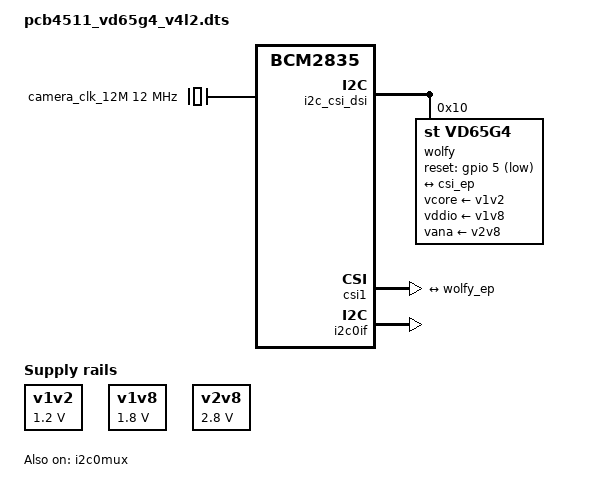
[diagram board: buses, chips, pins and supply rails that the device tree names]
// SPDX-License-Identifier: GPL-2.0-only
/dts-v1/;
/plugin/;

/{
	compatible = "brcm,bcm2835";

	fragment@0 {
		target-path="/";
		__overlay__ {
			camera_clk_12M: camera_clk_12M {
				#clock-cells = <0>;
				compatible = "fixed-clock";
				clock-frequency = <12000000>;
			};

			v1v2: v1v2 {
				compatible = "regulator-fixed";
				regulator-name = "fixed-supply-1v2";
				regulator-min-microvolt = <1200000>;
				regulator-max-microvolt = <1200000>;
			};

			v1v8: v1v8 {
				compatible = "regulator-fixed";
				regulator-name = "fixed-supply-1v8";
				regulator-min-microvolt = <1800000>;
				regulator-max-microvolt = <1800000>;
			};

			v2v8: v2v8 {
				compatible = "regulator-fixed";
				regulator-name = "fixed-supply-2v8";
				regulator-min-microvolt = <2800000>;
				regulator-max-microvolt = <2800000>;
			};
		};
	};

	fragment@1 {
		target = <&i2c_csi_dsi>;
		__overlay__ {
			#address-cells = <1>;
			#size-cells = <0>;
			status = "okay";

			wolfy: wolfy@10 {
				status = "ok";
				compatible = "st,vd65g4";
				reg = <0x10>;

				clocks = <&camera_clk_12M>;
				clock-names = "xclk";

				vcore-supply = <&v1v2>;
				vddio-supply = <&v1v8>;
				vana-supply = <&v2v8>;

				reset-gpios = <&gpio 5 1>;
				st,leds = <2>;

				orientation = <2>;
				rotation = <0>;

				port {
					wolfy_ep: endpoint {
						clock-lanes = <0>;
						data-lanes = <1>;
						remote-endpoint = <&csi_ep>;
						clock-noncontinuous;
						link-frequencies =
							/bits/ 64 <600000000>;
						lane-polarities = <1 1>;
					};
				};
			};
		};
	};

	fragment@2 {
		target = <&csi1>;
		__overlay__ {
			status = "okay";

			port {
				csi_ep: endpoint {
					remote-endpoint = <&wolfy_ep>;
					clock-lanes = <0>;
					data-lanes = <1>;
					clock-noncontinuous;
				};
			};
		};
	};

	fragment@3 {
		target = <&i2c0if>;
		__overlay__ {
			status = "okay";
		};
	};

	fragment@4 {
		target = <&i2c0mux>;
		__overlay__ {
			status = "okay";
		};
	};

	fragment@5 {
		target = <&cam1_reg>;
		__overlay__ {
			status = "disable";
		};
	};

	fragment@6 {
		target-path="/__overrides__";
		__overlay__ {
			cam0-pwdn-ctrl = <&wolfy>,"reset-gpios:0";
			cam0-pwdn      = <&wolfy>,"reset-gpios:4";
		};
	};
};
